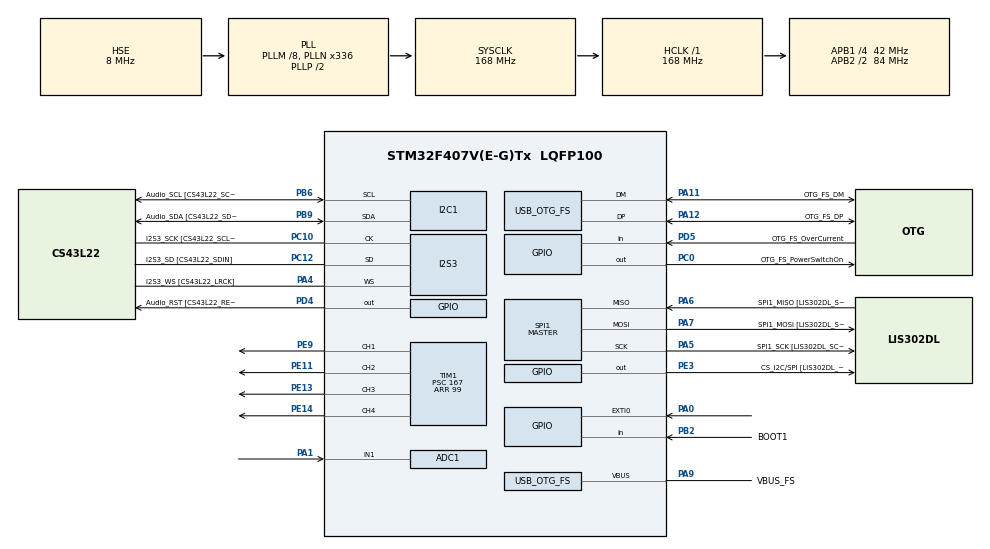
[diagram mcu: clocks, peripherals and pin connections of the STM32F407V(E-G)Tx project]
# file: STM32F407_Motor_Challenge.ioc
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ADC1.Channel-1\#ChannelRegularConversion=ADC_CHANNEL_1
ADC1.ContinuousConvMode=ENABLE
ADC1.NbrOfConversionFlag=1
ADC1.Rank-1\#ChannelRegularConversion=1
ADC1.SamplingTime-1\#ChannelRegularConversion=ADC_SAMPLETIME_480CYCLES
ADC1.master=1
I2S3.AudioFreq-Half_Duplex_Master=I2S_AUDIOFREQ_96K
I2S3.ErrorAudioFreq=0.8 %
I2S3.ErrorAudioFreq-Half_Duplex_Master=0.8 %
I2S3.FullDuplexMode=I2S_FULLDUPLEXMODE_DISABLE
I2S3.Instance=SPI$Index
I2S3.RealAudioFreq=96.774 KHz
I2S3.RealAudioFreq-Half_Duplex_Master=96.774 KHz
I2S3.VirtualMode=I2S_MODE_MASTER
Mcu.Family=STM32F4
Mcu.Name=STM32F407V(E-G)Tx
Mcu.Package=LQFP100
NVIC.ADC_IRQn=true\:0\:0\:false\:false\:true\:true\:true\:true
NVIC.EXTI0_IRQn=true\:0\:0\:false\:false\:true\:true\:true\:true
NVIC.OTG_FS_IRQn=true\:0\:0\:false\:false\:true\:true\:true\:true
NVIC.PriorityGroup=NVIC_PRIORITYGROUP_0
PA0-WKUP.GPIO_PuPd=GPIO_PULLDOWN
PA0-WKUP.Signal=GPXTI0
PA1.Signal=ADCx_IN1
PA10.GPIO_Label=OTG_FS_ID
PA10.GPIO_Mode=GPIO_MODE_AF_PP
PA10.GPIO_PuPd=GPIO_NOPULL
PA10.GPIO_Speed=GPIO_SPEED_FREQ_LOW
PA10.Signal=USB_OTG_FS_ID
PA11.GPIO_Label=OTG_FS_DM
PA11.GPIO_Mode=GPIO_MODE_AF_PP
PA11.GPIO_PuPd=GPIO_NOPULL
PA11.GPIO_Speed=GPIO_SPEED_FREQ_LOW
PA11.Mode=Host_Only
PA11.Signal=USB_OTG_FS_DM
PA12.GPIO_Label=OTG_FS_DP
PA12.GPIO_Mode=GPIO_MODE_AF_PP
PA12.GPIO_PuPd=GPIO_NOPULL
PA12.GPIO_Speed=GPIO_SPEED_FREQ_LOW
PA12.Mode=Host_Only
PA12.Signal=USB_OTG_FS_DP
PA13.GPIO_Label=SWDIO
PA13.Mode=Serial_Wire
PA13.Signal=SYS_JTMS-SWDIO
PA14.GPIO_Label=SWCLK
PA14.Mode=Serial_Wire
PA14.Signal=SYS_JTCK-SWCLK
PA4.GPIO_Label=I2S3_WS [CS43L22_LRCK]
PA4.GPIO_Mode=GPIO_MODE_AF_PP
PA4.GPIO_PuPd=GPIO_NOPULL
PA4.GPIO_Speed=GPIO_SPEED_FREQ_LOW
PA4.Mode=Half_Duplex_Master
PA4.Signal=I2S3_WS
PA5.GPIO_Label=SPI1_SCK [LIS302DL_SCL/SPC]
PA5.GPIO_Mode=GPIO_MODE_AF_PP
PA5.GPIO_PuPd=GPIO_NOPULL
PA5.GPIO_Speed=GPIO_SPEED_FREQ_LOW
PA5.Mode=Full_Duplex_Master
PA5.Signal=SPI1_SCK
PA6.GPIO_Label=SPI1_MISO [LIS302DL_SDO]
PA6.GPIO_Mode=GPIO_MODE_AF_PP
PA6.GPIO_PuPd=GPIO_NOPULL
PA6.GPIO_Speed=GPIO_SPEED_FREQ_LOW
PA6.Mode=Full_Duplex_Master
PA6.Signal=SPI1_MISO
PA7.GPIO_Label=SPI1_MOSI [LIS302DL_SDA/SDI/SDO]
PA7.GPIO_Mode=GPIO_MODE_AF_PP
PA7.GPIO_PuPd=GPIO_NOPULL
PA7.GPIO_Speed=GPIO_SPEED_FREQ_LOW
PA7.Mode=Full_Duplex_Master
PA7.Signal=SPI1_MOSI
PA9.GPIO_Label=VBUS_FS
PA9.GPIO_Mode=GPIO_MODE_INPUT
PA9.GPIO_PuPd=GPIO_NOPULL
PA9.Mode=Activate_VBUS
PA9.Signal=USB_OTG_FS_VBUS
PB10.GPIO_Label=CLK_IN [MP45DT02_CLK]
PB10.GPIO_Mode=GPIO_MODE_AF_PP
PB10.GPIO_PuPd=GPIO_NOPULL
PB10.GPIO_Speed=GPIO_SPEED_FREQ_LOW
PB10.Signal=I2S2_CK
PB2.GPIO_Label=BOOT1
PB2.GPIO_Mode=GPIO_MODE_INPUT
PB2.GPIO_PuPd=GPIO_NOPULL
PB2.Signal=GPIO_Input
PB3.GPIO_Label=SWO
PB3.Signal=SYS_JTDO-SWO
PB6.GPIO_Label=Audio_SCL [CS43L22_SCL]
PB6.GPIO_Mode=GPIO_MODE_AF_OD
PB6.GPIO_Pu=GPIO_PULLUP
PB6.GPIO_PuPd=GPIO_NOPULL
PB6.GPIO_Speed=GPIO_SPEED_FREQ_LOW
PB6.Mode=I2C
PB6.Signal=I2C1_SCL
PB9.GPIO_Label=Audio_SDA [CS43L22_SDA]
PB9.GPIO_Mode=GPIO_MODE_AF_OD
PB9.GPIO_Pu=GPIO_PULLUP
PB9.GPIO_PuPd=GPIO_NOPULL
PB9.GPIO_Speed=GPIO_SPEED_FREQ_LOW
PB9.Mode=I2C
PB9.Signal=I2C1_SDA
PC0.GPIO_Label=OTG_FS_PowerSwitchOn
PC0.GPIO_PuPd=GPIO_NOPULL
PC0.GPIO_Speed=GPIO_SPEED_FREQ_LOW
PC0.PinState=GPIO_PIN_SET
PC0.Signal=GPIO_Output
PC10.GPIO_Label=I2S3_SCK [CS43L22_SCLK]
PC10.GPIO_Mode=GPIO_MODE_AF_PP
PC10.GPIO_PuPd=GPIO_NOPULL
PC10.GPIO_Speed=GPIO_SPEED_FREQ_LOW
PC10.Mode=Half_Duplex_Master
PC10.Signal=I2S3_CK
PC12.GPIO_Label=I2S3_SD [CS43L22_SDIN]
PC12.GPIO_Mode=GPIO_MODE_AF_PP
PC12.GPIO_PuPd=GPIO_NOPULL
PC12.GPIO_Speed=GPIO_SPEED_FREQ_LOW
PC12.Mode=Half_Duplex_Master
PC12.Signal=I2S3_SD
PC14-OSC32_IN.GPIO_Label=PC14-OSC32_IN
PC14-OSC32_IN.Mode=LSE-External-Oscillator
PC14-OSC32_IN.Signal=RCC_OSC32_IN
PC15-OSC32_OUT.GPIO_Label=PC15-OSC32_OUT
PC15-OSC32_OUT.Mode=LSE-External-Oscillator
PC15-OSC32_OUT.Signal=RCC_OSC32_OUT
PC3.GPIO_Label=PDM_OUT [MP45DT02_DOUT]
PC3.GPIO_Mode=GPIO_MODE_AF_PP
PC3.GPIO_PuPd=GPIO_NOPULL
PC3.GPIO_Speed=GPIO_SPEED_FREQ_LOW
PC3.Signal=I2S2_SD
PD4.GPIO_Label=Audio_RST [CS43L22_RESET]
PD4.GPIO_PuPd=GPIO_NOPULL
PD4.GPIO_Speed=GPIO_SPEED_FREQ_LOW
PD4.Signal=GPIO_Output
PD5.GPIO_Label=OTG_FS_OverCurrent
PD5.GPIO_Mode=GPIO_MODE_INPUT
PD5.GPIO_PuPd=GPIO_NOPULL
PD5.Signal=GPIO_Input
PE11.Signal=S_TIM1_CH2
PE13.Signal=S_TIM1_CH3
PE14.Signal=S_TIM1_CH4
PE3.GPIO_Label=CS_I2C/SPI [LIS302DL_CS_I2C/SPI]
PE3.GPIO_PuPd=GPIO_NOPULL
PE3.GPIO_Speed=GPIO_SPEED_FREQ_LOW
PE3.Signal=GPIO_Output
PE9.Signal=S_TIM1_CH1
PH0-OSC_IN.GPIO_Label=PH0-OSC_IN
PH0-OSC_IN.Mode=HSE-External-Oscillator
PH0-OSC_IN.Signal=RCC_OSC_IN
PH1-OSC_OUT.GPIO_Label=PH1-OSC_OUT
PH1-OSC_OUT.Mode=HSE-External-Oscillator
PH1-OSC_OUT.Signal=RCC_OSC_OUT
ProjectManager.HeapSize=0x200
ProjectManager.StackSize=0x400
ProjectManager.TargetToolchain=STM32CubeIDE
RCC.48MHZClocksFreq_Value=48000000
RCC.AHBFreq_Value=168000000
RCC.APB1CLKDivider=RCC_HCLK_DIV4
RCC.APB1Freq_Value=42000000
RCC.APB1TimFreq_Value=84000000
RCC.APB2CLKDivider=RCC_HCLK_DIV2
RCC.APB2Freq_Value=84000000
RCC.APB2TimFreq_Value=168000000
RCC.CortexFreq_Value=168000000
RCC.HCLKFreq_Value=168000000
RCC.HSE_VALUE=8000000
RCC.HSI_VALUE=16000000
RCC.PLLM=8
RCC.PLLN=336
RCC.PLLQ=7
RCC.SYSCLKFreq_VALUE=168000000
RCC.SYSCLKSource=RCC_SYSCLKSOURCE_PLLCLK
RCC.VCOOutputFreq_Value=336000000
SH.ADCx_IN1.0=ADC1_IN1,IN1
SH.S_TIM1_CH1.0=TIM1_CH1,PWM Generation1 CH1
SH.S_TIM1_CH2.0=TIM1_CH2,PWM Generation2 CH2
SH.S_TIM1_CH3.0=TIM1_CH3,PWM Generation3 CH3
SH.S_TIM1_CH4.0=TIM1_CH4,PWM Generation4 CH4
SPI1.BaudRatePrescaler-Full_Duplex_Master=SPI_BAUDRATEPRESCALER_2
SPI1.CalculateBaudRate-Full_Duplex_Master=42.0 MBits/s
SPI1.Direction=SPI_DIRECTION_2LINES
SPI1.Mode=SPI_MODE_MASTER
SPI1.Mode-Full_Duplex_Master=SPI_MODE_MASTER
SPI1.VirtualType=VM_MASTER
TIM1.Channel-PWM\ Generation1\ CH1=TIM_CHANNEL_1
TIM1.Channel-PWM\ Generation2\ CH2=TIM_CHANNEL_2
TIM1.Channel-PWM\ Generation3\ CH3=TIM_CHANNEL_3
TIM1.Channel-PWM\ Generation4\ CH4=TIM_CHANNEL_4
TIM1.Period=99
TIM1.Prescaler=167
USB_HOST.BSP.number=1
USB_HOST.USBH_HandleTypeDef-CDC_FS=hUsbHostFS
USB_HOST.VirtualModeFS=Cdc
USB_HOST0.BSP.STBoard=false
USB_HOST0.BSP.api=Unknown
USB_HOST0.BSP.instance=PC0
USB_HOST0.BSP.ip=GPIO
USB_HOST0.BSP.mode=Output
USB_HOST0.BSP.name=Drive_VBUS_FS
USB_HOST0.BSP.solution=PC0
USB_OTG_FS.VirtualMode=Host_Only
USB_OTG_FS.phy_itface=HCD_PHY_EMBEDDED
VP_USB_HOST_VS_USB_HOST_CDC_FS.Mode=CDC_FS
board=STM32F407G-DISC1

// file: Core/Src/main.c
/* USER CODE BEGIN Header */
/**
  ******************************************************************************
  * @file           : main.c
  * @brief          : Main program body
  ******************************************************************************
  * @attention
  *
  * Copyright (c) 2025 STMicroelectronics.
  * All rights reserved.
  *
  * This software is licensed under terms that can be found in the LICENSE file
  * in the root directory of this software component.
  * If no LICENSE file comes with this software, it is provided AS-IS.
  *
  ******************************************************************************
  */
/* USER CODE END Header */
#include "main.h"
#include "usb_host.h"

/* USER CODE BEGIN PD */

#define MOTOR_ON_THRESH 2172
#define MOTOR_OFF_THRESH 2016

/* USER CODE END PD */

ADC_HandleTypeDef hadc1;

I2C_HandleTypeDef hi2c1;

I2S_HandleTypeDef hi2s3;

SPI_HandleTypeDef hspi1;

TIM_HandleTypeDef htim1;

/* USER CODE BEGIN PV */

uint16_t gADC_Value = 0;

volatile uint8_t buttonCount = 1;

/* USER CODE END PV */

void SystemClock_Config(void);
static void MX_GPIO_Init(void);
static void MX_I2C1_Init(void);
static void MX_I2S3_Init(void);
static void MX_SPI1_Init(void);
static void MX_TIM1_Init(void);
static void MX_ADC1_Init(void);
void MX_USB_HOST_Process(void);

int main(void)
{

  /* MCU Configuration--------------------------------------------------------*/

  /* Reset of all peripherals, Initializes the Flash interface and the Systick. */
  HAL_Init();

  /* Configure the system clock */
  SystemClock_Config();

  /* Initialize all configured peripherals */
  MX_GPIO_Init();
  MX_I2C1_Init();
  MX_I2S3_Init();
  MX_SPI1_Init();
  MX_USB_HOST_Init();
  MX_TIM1_Init();
  MX_ADC1_Init();
  /* USER CODE BEGIN 2 */

  HAL_ADC_Start_IT(&hadc1);

  HAL_TIM_PWM_Start(&htim1, TIM_CHANNEL_1); // PE9 (AN1)
  HAL_TIM_PWM_Start(&htim1, TIM_CHANNEL_2); // PE11 (AN2)

  HAL_TIM_PWM_Start(&htim1, TIM_CHANNEL_3); // PE13 (BN1)
  HAL_TIM_PWM_Start(&htim1, TIM_CHANNEL_4); // PE14 (BN2)

  /* USER CODE END 2 */

  /* Infinite loop */
  /* USER CODE BEGIN WHILE */
  while (1)
  {

	if(gADC_Value > MOTOR_ON_THRESH){ // motors on
		switch (buttonCount)
		{
			case 1: // stop
				set_PWM(0);
			case 2: // CCW
				set_PWM(1);
			case 3: // CW
				set_PWM(-1);
		}
	} else if (gADC_Value < MOTOR_OFF_THRESH){ // motors on
		set_PWM(0);
	} else {
		set_PWM(1);
	}
    /* USER CODE END WHILE */
    MX_USB_HOST_Process();

  }
}

void SystemClock_Config(void)
{
  RCC_OscInitTypeDef RCC_OscInitStruct = {0};
  RCC_ClkInitTypeDef RCC_ClkInitStruct = {0};

  /** Configure the main internal regulator output voltage
  */
  __HAL_RCC_PWR_CLK_ENABLE();
  __HAL_PWR_VOLTAGESCALING_CONFIG(PWR_REGULATOR_VOLTAGE_SCALE1);

  /** Initializes the RCC Oscillators according to the specified parameters
  * in the RCC_OscInitTypeDef structure.
  */
  RCC_OscInitStruct.OscillatorType = RCC_OSCILLATORTYPE_HSE;
  RCC_OscInitStruct.HSEState = RCC_HSE_ON;
  RCC_OscInitStruct.PLL.PLLState = RCC_PLL_ON;
  RCC_OscInitStruct.PLL.PLLSource = RCC_PLLSOURCE_HSE;
  RCC_OscInitStruct.PLL.PLLM = 8;
  RCC_OscInitStruct.PLL.PLLN = 336;
  RCC_OscInitStruct.PLL.PLLP = RCC_PLLP_DIV2;
  RCC_OscInitStruct.PLL.PLLQ = 7;
  if (HAL_RCC_OscConfig(&RCC_OscInitStruct) != HAL_OK)
  {
    Error_Handler();
  }

  /** Initializes the CPU, AHB and APB buses clocks
  */
  RCC_ClkInitStruct.ClockType = RCC_CLOCKTYPE_HCLK|RCC_CLOCKTYPE_SYSCLK
                              |RCC_CLOCKTYPE_PCLK1|RCC_CLOCKTYPE_PCLK2;
  RCC_ClkInitStruct.SYSCLKSource = RCC_SYSCLKSOURCE_PLLCLK;
  RCC_ClkInitStruct.AHBCLKDivider = RCC_SYSCLK_DIV1;
  RCC_ClkInitStruct.APB1CLKDivider = RCC_HCLK_DIV4;
  RCC_ClkInitStruct.APB2CLKDivider = RCC_HCLK_DIV2;

  if (HAL_RCC_ClockConfig(&RCC_ClkInitStruct, FLASH_LATENCY_5) != HAL_OK)
  {
    Error_Handler();
  }
}

static void MX_ADC1_Init(void)
{

  ADC_ChannelConfTypeDef sConfig = {0};

  /** Configure the global features of the ADC (Clock, Resolution, Data Alignment and number of conversion)
  */
  hadc1.Instance = ADC1;
  hadc1.Init.ClockPrescaler = ADC_CLOCK_SYNC_PCLK_DIV4;
  hadc1.Init.Resolution = ADC_RESOLUTION_12B;
  hadc1.Init.ScanConvMode = DISABLE;
  hadc1.Init.ContinuousConvMode = ENABLE;
  hadc1.Init.DiscontinuousConvMode = DISABLE;
  hadc1.Init.ExternalTrigConvEdge = ADC_EXTERNALTRIGCONVEDGE_NONE;
  hadc1.Init.ExternalTrigConv = ADC_SOFTWARE_START;
  hadc1.Init.DataAlign = ADC_DATAALIGN_RIGHT;
  hadc1.Init.NbrOfConversion = 1;
  hadc1.Init.DMAContinuousRequests = DISABLE;
  hadc1.Init.EOCSelection = ADC_EOC_SINGLE_CONV;
  if (HAL_ADC_Init(&hadc1) != HAL_OK)
  {
    Error_Handler();
  }

  /** Configure for the selected ADC regular channel its corresponding rank in the sequencer and its sample time.
  */
  sConfig.Channel = ADC_CHANNEL_1;
  sConfig.Rank = 1;
  sConfig.SamplingTime = ADC_SAMPLETIME_480CYCLES;
  if (HAL_ADC_ConfigChannel(&hadc1, &sConfig) != HAL_OK)
  {
    Error_Handler();
  }

}

static void MX_I2C1_Init(void)
{

  hi2c1.Instance = I2C1;
  hi2c1.Init.ClockSpeed = 100000;
  hi2c1.Init.DutyCycle = I2C_DUTYCYCLE_2;
  hi2c1.Init.OwnAddress1 = 0;
  hi2c1.Init.AddressingMode = I2C_ADDRESSINGMODE_7BIT;
  hi2c1.Init.DualAddressMode = I2C_DUALADDRESS_DISABLE;
  hi2c1.Init.OwnAddress2 = 0;
  hi2c1.Init.GeneralCallMode = I2C_GENERALCALL_DISABLE;
  hi2c1.Init.NoStretchMode = I2C_NOSTRETCH_DISABLE;
  if (HAL_I2C_Init(&hi2c1) != HAL_OK)
  {
    Error_Handler();
  }

}

static void MX_I2S3_Init(void)
{

  hi2s3.Instance = SPI3;
  hi2s3.Init.Mode = I2S_MODE_MASTER_TX;
  hi2s3.Init.Standard = I2S_STANDARD_PHILIPS;
  hi2s3.Init.DataFormat = I2S_DATAFORMAT_16B;
  hi2s3.Init.MCLKOutput = I2S_MCLKOUTPUT_DISABLE;
  hi2s3.Init.AudioFreq = I2S_AUDIOFREQ_96K;
  hi2s3.Init.CPOL = I2S_CPOL_LOW;
  hi2s3.Init.ClockSource = I2S_CLOCK_PLL;
  hi2s3.Init.FullDuplexMode = I2S_FULLDUPLEXMODE_DISABLE;
  if (HAL_I2S_Init(&hi2s3) != HAL_OK)
  {
    Error_Handler();
  }

}

static void MX_SPI1_Init(void)
{

  /* SPI1 parameter configuration*/
  hspi1.Instance = SPI1;
  hspi1.Init.Mode = SPI_MODE_MASTER;
  hspi1.Init.Direction = SPI_DIRECTION_2LINES;
  hspi1.Init.DataSize = SPI_DATASIZE_8BIT;
  hspi1.Init.CLKPolarity = SPI_POLARITY_LOW;
  hspi1.Init.CLKPhase = SPI_PHASE_1EDGE;
  hspi1.Init.NSS = SPI_NSS_SOFT;
  hspi1.Init.BaudRatePrescaler = SPI_BAUDRATEPRESCALER_2;
  hspi1.Init.FirstBit = SPI_FIRSTBIT_MSB;
  hspi1.Init.TIMode = SPI_TIMODE_DISABLE;
  hspi1.Init.CRCCalculation = SPI_CRCCALCULATION_DISABLE;
  hspi1.Init.CRCPolynomial = 10;
  if (HAL_SPI_Init(&hspi1) != HAL_OK)
  {
    Error_Handler();
  }

}

static void MX_TIM1_Init(void)
{

  TIM_MasterConfigTypeDef sMasterConfig = {0};
  TIM_OC_InitTypeDef sConfigOC = {0};
  TIM_BreakDeadTimeConfigTypeDef sBreakDeadTimeConfig = {0};

  htim1.Instance = TIM1;
  htim1.Init.Prescaler = 167;
  htim1.Init.CounterMode = TIM_COUNTERMODE_UP;
  htim1.Init.Period = 99;
  htim1.Init.ClockDivision = TIM_CLOCKDIVISION_DIV1;
  htim1.Init.RepetitionCounter = 0;
  htim1.Init.AutoReloadPreload = TIM_AUTORELOAD_PRELOAD_DISABLE;
  if (HAL_TIM_PWM_Init(&htim1) != HAL_OK)
  {
    Error_Handler();
  }
  sMasterConfig.MasterOutputTrigger = TIM_TRGO_RESET;
  sMasterConfig.MasterSlaveMode = TIM_MASTERSLAVEMODE_DISABLE;
  if (HAL_TIMEx_MasterConfigSynchronization(&htim1, &sMasterConfig) != HAL_OK)
  {
    Error_Handler();
  }
  sConfigOC.OCMode = TIM_OCMODE_PWM1;
  sConfigOC.Pulse = 0;
  sConfigOC.OCPolarity = TIM_OCPOLARITY_HIGH;
  sConfigOC.OCNPolarity = TIM_OCNPOLARITY_HIGH;
  sConfigOC.OCFastMode = TIM_OCFAST_DISABLE;
  sConfigOC.OCIdleState = TIM_OCIDLESTATE_RESET;
  sConfigOC.OCNIdleState = TIM_OCNIDLESTATE_RESET;
  if (HAL_TIM_PWM_ConfigChannel(&htim1, &sConfigOC, TIM_CHANNEL_1) != HAL_OK)
  {
    Error_Handler();
  }
  if (HAL_TIM_PWM_ConfigChannel(&htim1, &sConfigOC, TIM_CHANNEL_2) != HAL_OK)
  {
    Error_Handler();
  }
  if (HAL_TIM_PWM_ConfigChannel(&htim1, &sConfigOC, TIM_CHANNEL_3) != HAL_OK)
  {
    Error_Handler();
  }
  if (HAL_TIM_PWM_ConfigChannel(&htim1, &sConfigOC, TIM_CHANNEL_4) != HAL_OK)
  {
    Error_Handler();
  }
  sBreakDeadTimeConfig.OffStateRunMode = TIM_OSSR_DISABLE;
  sBreakDeadTimeConfig.OffStateIDLEMode = TIM_OSSI_DISABLE;
  sBreakDeadTimeConfig.LockLevel = TIM_LOCKLEVEL_OFF;
  sBreakDeadTimeConfig.DeadTime = 0;
  sBreakDeadTimeConfig.BreakState = TIM_BREAK_DISABLE;
  sBreakDeadTimeConfig.BreakPolarity = TIM_BREAKPOLARITY_HIGH;
  sBreakDeadTimeConfig.AutomaticOutput = TIM_AUTOMATICOUTPUT_DISABLE;
  if (HAL_TIMEx_ConfigBreakDeadTime(&htim1, &sBreakDeadTimeConfig) != HAL_OK)
  {
    Error_Handler();
  }
  HAL_TIM_MspPostInit(&htim1);

}

static void MX_GPIO_Init(void)
{
  GPIO_InitTypeDef GPIO_InitStruct = {0};

  /* GPIO Ports Clock Enable */
  __HAL_RCC_GPIOE_CLK_ENABLE();
  __HAL_RCC_GPIOC_CLK_ENABLE();
  __HAL_RCC_GPIOH_CLK_ENABLE();
  __HAL_RCC_GPIOA_CLK_ENABLE();
  __HAL_RCC_GPIOB_CLK_ENABLE();
  __HAL_RCC_GPIOD_CLK_ENABLE();

  /*Configure GPIO pin Output Level */
  HAL_GPIO_WritePin(CS_I2C_SPI_GPIO_Port, CS_I2C_SPI_Pin, GPIO_PIN_RESET);

  /*Configure GPIO pin Output Level */
  HAL_GPIO_WritePin(OTG_FS_PowerSwitchOn_GPIO_Port, OTG_FS_PowerSwitchOn_Pin, GPIO_PIN_SET);

  /*Configure GPIO pin Output Level */
  HAL_GPIO_WritePin(Audio_RST_GPIO_Port, Audio_RST_Pin, GPIO_PIN_RESET);

  /*Configure GPIO pin : CS_I2C_SPI_Pin */
  GPIO_InitStruct.Pin = CS_I2C_SPI_Pin;
  GPIO_InitStruct.Mode = GPIO_MODE_OUTPUT_PP;
  GPIO_InitStruct.Pull = GPIO_NOPULL;
  GPIO_InitStruct.Speed = GPIO_SPEED_FREQ_LOW;
  HAL_GPIO_Init(CS_I2C_SPI_GPIO_Port, &GPIO_InitStruct);

  /*Configure GPIO pin : OTG_FS_PowerSwitchOn_Pin */
  GPIO_InitStruct.Pin = OTG_FS_PowerSwitchOn_Pin;
  GPIO_InitStruct.Mode = GPIO_MODE_OUTPUT_PP;
  GPIO_InitStruct.Pull = GPIO_NOPULL;
  GPIO_InitStruct.Speed = GPIO_SPEED_FREQ_LOW;
  HAL_GPIO_Init(OTG_FS_PowerSwitchOn_GPIO_Port, &GPIO_InitStruct);

  /*Configure GPIO pin : PDM_OUT_Pin */
  GPIO_InitStruct.Pin = PDM_OUT_Pin;
  GPIO_InitStruct.Mode = GPIO_MODE_AF_PP;
  GPIO_InitStruct.Pull = GPIO_NOPULL;
  GPIO_InitStruct.Speed = GPIO_SPEED_FREQ_LOW;
  GPIO_InitStruct.Alternate = GPIO_AF5_SPI2;
  HAL_GPIO_Init(PDM_OUT_GPIO_Port, &GPIO_InitStruct);

  /*Configure GPIO pin : PA0 */
  GPIO_InitStruct.Pin = GPIO_PIN_0;
  GPIO_InitStruct.Mode = GPIO_MODE_IT_RISING;
  GPIO_InitStruct.Pull = GPIO_PULLDOWN;
  HAL_GPIO_Init(GPIOA, &GPIO_InitStruct);

  /*Configure GPIO pin : BOOT1_Pin */
  GPIO_InitStruct.Pin = BOOT1_Pin;
  GPIO_InitStruct.Mode = GPIO_MODE_INPUT;
  GPIO_InitStruct.Pull = GPIO_NOPULL;
  HAL_GPIO_Init(BOOT1_GPIO_Port, &GPIO_InitStruct);

  /*Configure GPIO pin : CLK_IN_Pin */
  GPIO_InitStruct.Pin = CLK_IN_Pin;
  GPIO_InitStruct.Mode = GPIO_MODE_AF_PP;
  GPIO_InitStruct.Pull = GPIO_NOPULL;
  GPIO_InitStruct.Speed = GPIO_SPEED_FREQ_LOW;
  GPIO_InitStruct.Alternate = GPIO_AF5_SPI2;
  HAL_GPIO_Init(CLK_IN_GPIO_Port, &GPIO_InitStruct);

  /*Configure GPIO pin : Audio_RST_Pin */
  GPIO_InitStruct.Pin = Audio_RST_Pin;
  GPIO_InitStruct.Mode = GPIO_MODE_OUTPUT_PP;
  GPIO_InitStruct.Pull = GPIO_NOPULL;
  GPIO_InitStruct.Speed = GPIO_SPEED_FREQ_LOW;
  HAL_GPIO_Init(Audio_RST_GPIO_Port, &GPIO_InitStruct);

  /*Configure GPIO pin : OTG_FS_OverCurrent_Pin */
  GPIO_InitStruct.Pin = OTG_FS_OverCurrent_Pin;
  GPIO_InitStruct.Mode = GPIO_MODE_INPUT;
  GPIO_InitStruct.Pull = GPIO_NOPULL;
  HAL_GPIO_Init(OTG_FS_OverCurrent_GPIO_Port, &GPIO_InitStruct);

  /* EXTI interrupt init*/
  HAL_NVIC_SetPriority(EXTI0_IRQn, 0, 0);
  HAL_NVIC_EnableIRQ(EXTI0_IRQn);

}

/* USER CODE BEGIN 4 */

void HAL_ADC_ConvCpltCallback(ADC_HandleTypeDef *hadc){
	gADC_Value = HAL_ADC_GetValue(hadc);
}

void HAL_GPIO_EXTI_Callback(uint16_t GPIO_Pin){
	if(HAL_GPIO_ReadPin(GPIOA, GPIO_Pin_0) == GPIO_PIN_SET){
		buttonCount++;
		if (buttonCount == 4){
			buttonCount = 1;
		}
	}
}

void set_PWM(int pwm){

	if (pwm > 100) pwm = 100;
	if (pwm < 100) pwm = -100;

	if(pwm > 0){ // CCW
		__HAL_TIM_SET_COMPARE(&htim1, TIM_CHANNEL_1,100); // AN1 ON
		__HAL_TIM_SET_COMPARE(&htim1, TIM_CHANNEL_2,100 - pwm); // AN2 PWM
		__HAL_TIM_SET_COMPARE(&htim1, TIM_CHANNEL_3,100); // BN1 ON
		__HAL_TIM_SET_COMPARE(&htim1, TIM_CHANNEL_4,100 - pwm); // BN2 PWM
	} else if (pwm < 0) { // CW
		__HAL_TIM_SET_COMPARE(&htim1, TIM_CHANNEL_2,100); // AN2 ON
		__HAL_TIM_SET_COMPARE(&htim1, TIM_CHANNEL_1,100 + pwm); // AN1 PWM
		__HAL_TIM_SET_COMPARE(&htim1, TIM_CHANNEL_4,100); // BN2 ON
		__HAL_TIM_SET_COMPARE(&htim1, TIM_CHANNEL_3,100 + pwm); // BN1 PWM
	} else { // all off
		__HAL_TIM_SET_COMPARE(&htim1, TIM_CHANNEL_1,0);
		__HAL_TIM_SET_COMPARE(&htim1, TIM_CHANNEL_2,0);
		__HAL_TIM_SET_COMPARE(&htim1, TIM_CHANNEL_3,0);
		__HAL_TIM_SET_COMPARE(&htim1, TIM_CHANNEL_4,0);
	}
}

/* USER CODE END 4 */

void Error_Handler(void)
{
  __disable_irq();
  while (1)
  {
  }
}
